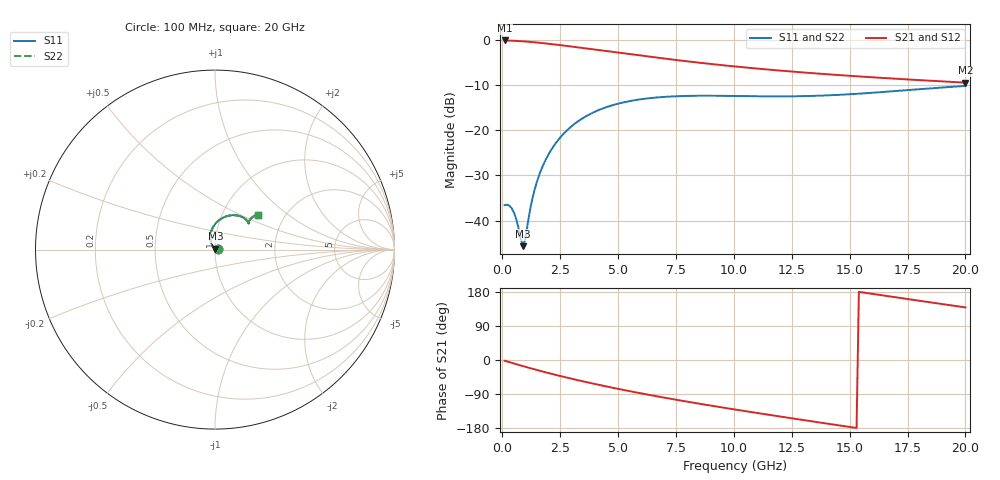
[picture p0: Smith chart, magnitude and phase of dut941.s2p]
! Touchstone file exported from HFSS 2024.1.0
!  File:  C:/UserFiles/LocalFiles/RDL_TSV_Batchsim/temp_RDL_TSV_941_1779962995.aedt
!  Generated:  06:22:44 PM May 28, 2026
!  Design:  RDL_TSV
!  Project:  temp_RDL_TSV_941_1779962995
!  Setup:  Setup1
!  Solution:  Sweep
! Variables:
!  dtsv = 9.61um
!  hbump = 3um
!  htsv = 81.61um
!  ldown = 435.98um
!  lrdl = 465.52um
!  p = 40
!  p1 = 43.22um
!  rhole = 10um
!  subl = 3170.02um
!  t = 450um
!  tdown = 4.9um
!  trdl = 3.46um
!  viad = 10um
!  wdown = 22.97um
!  wrdl = 19.49um
!  xbump = 18um
# GHz S MA R 50.000000
! Terminal data exported
! Port[1] = TM1_1_T1
! Port[2] = TM1_4_T1
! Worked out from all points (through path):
!   200 points, 100 MHz to 20 GHz, reference 50 ohm
!   highest |S21| = -0.13 dB at 100 MHz (marker M1); lowest = -9.5 dB at 20 GHz (marker M2)
!   group delay of S21, straight-line fit = 29.2 ps
!   lowest |S11| = -45.7 dB at 900 MHz (marker M3), VSWR 1.01, Z = 50.3 + j0.447 ohm
!   |S11| at or under -10 dB: start of sweep to end of sweep
!   |S22| runs from -45.7 to -10.2 dB; largest |S21 - S12| = 1e-14
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0.1  0.0148 2.9  0.9848 -1.9  0.9848 -1.9  0.0148 2.9
! Gamma 0 0 0 0
! Port Impedance 50 0 50 0
0.3  0.01465 3.8  0.9813 -5.6  0.9813 -5.6  0.01465 3.8
0.5  0.01228 4.2  0.9764 -9.2  0.9764 -9.2  0.01229 4.2
0.6  0.01041 6.7  0.9736 -11.0  0.9736 -11.0  0.01041 6.7
0.8  0.006227 28.3  0.9668 -14.5  0.9668 -14.5  0.006235 28.3
0.9  0.005202 58.8  0.963 -16.3  0.963 -16.3  0.005206 58.6
1  0.006386 92.1  0.9588 -18.0  0.9588 -18.0  0.00638 91.9
1.2  0.01317 118.4  0.9496 -21.4  0.9496 -21.4  0.01315 118.3
1.4  0.02216 123.1  0.9395 -24.8  0.9395 -24.8  0.02213 123.1
1.6  0.03221 122.6  0.9286 -28.1  0.9286 -28.1  0.03217 122.6
1.8  0.04295 120.3  0.9172 -31.3  0.9172 -31.3  0.0429 120.2
2.1  0.05985 115.5  0.8992 -36.1  0.8992 -36.1  0.05979 115.5
2.5  0.0829 108.5  0.8743 -42.2  0.8743 -42.2  0.08281 108.4
3  0.111 99.7  0.8428 -49.5  0.8428 -49.5  0.1109 99.7
3.5  0.137 91.5  0.8114 -56.6  0.8114 -56.6  0.1369 91.4
4.9  0.1935 72.1  0.7276 -74.9  0.7276 -74.9  0.1933 72.1
6.8  0.2318 53.9  0.6293 -97.2  0.6293 -97.2  0.2315 53.8
8.4  0.2405 44.4  0.5624 -114.2  0.5624 -114.2  0.2402 44.3
10.1  0.2391 39.1  0.5059 -131.2  0.5059 -131.2  0.2387 39.0
13.4  0.2396 38.6  0.4277 -162.1  0.4277 -162.1  0.2391 38.5
16.7  0.2678 40.9  0.375 168.0  0.375 168.0  0.267 40.8
20  0.309 39.0  0.3362 138.8  0.3362 138.8  0.3078 38.9
